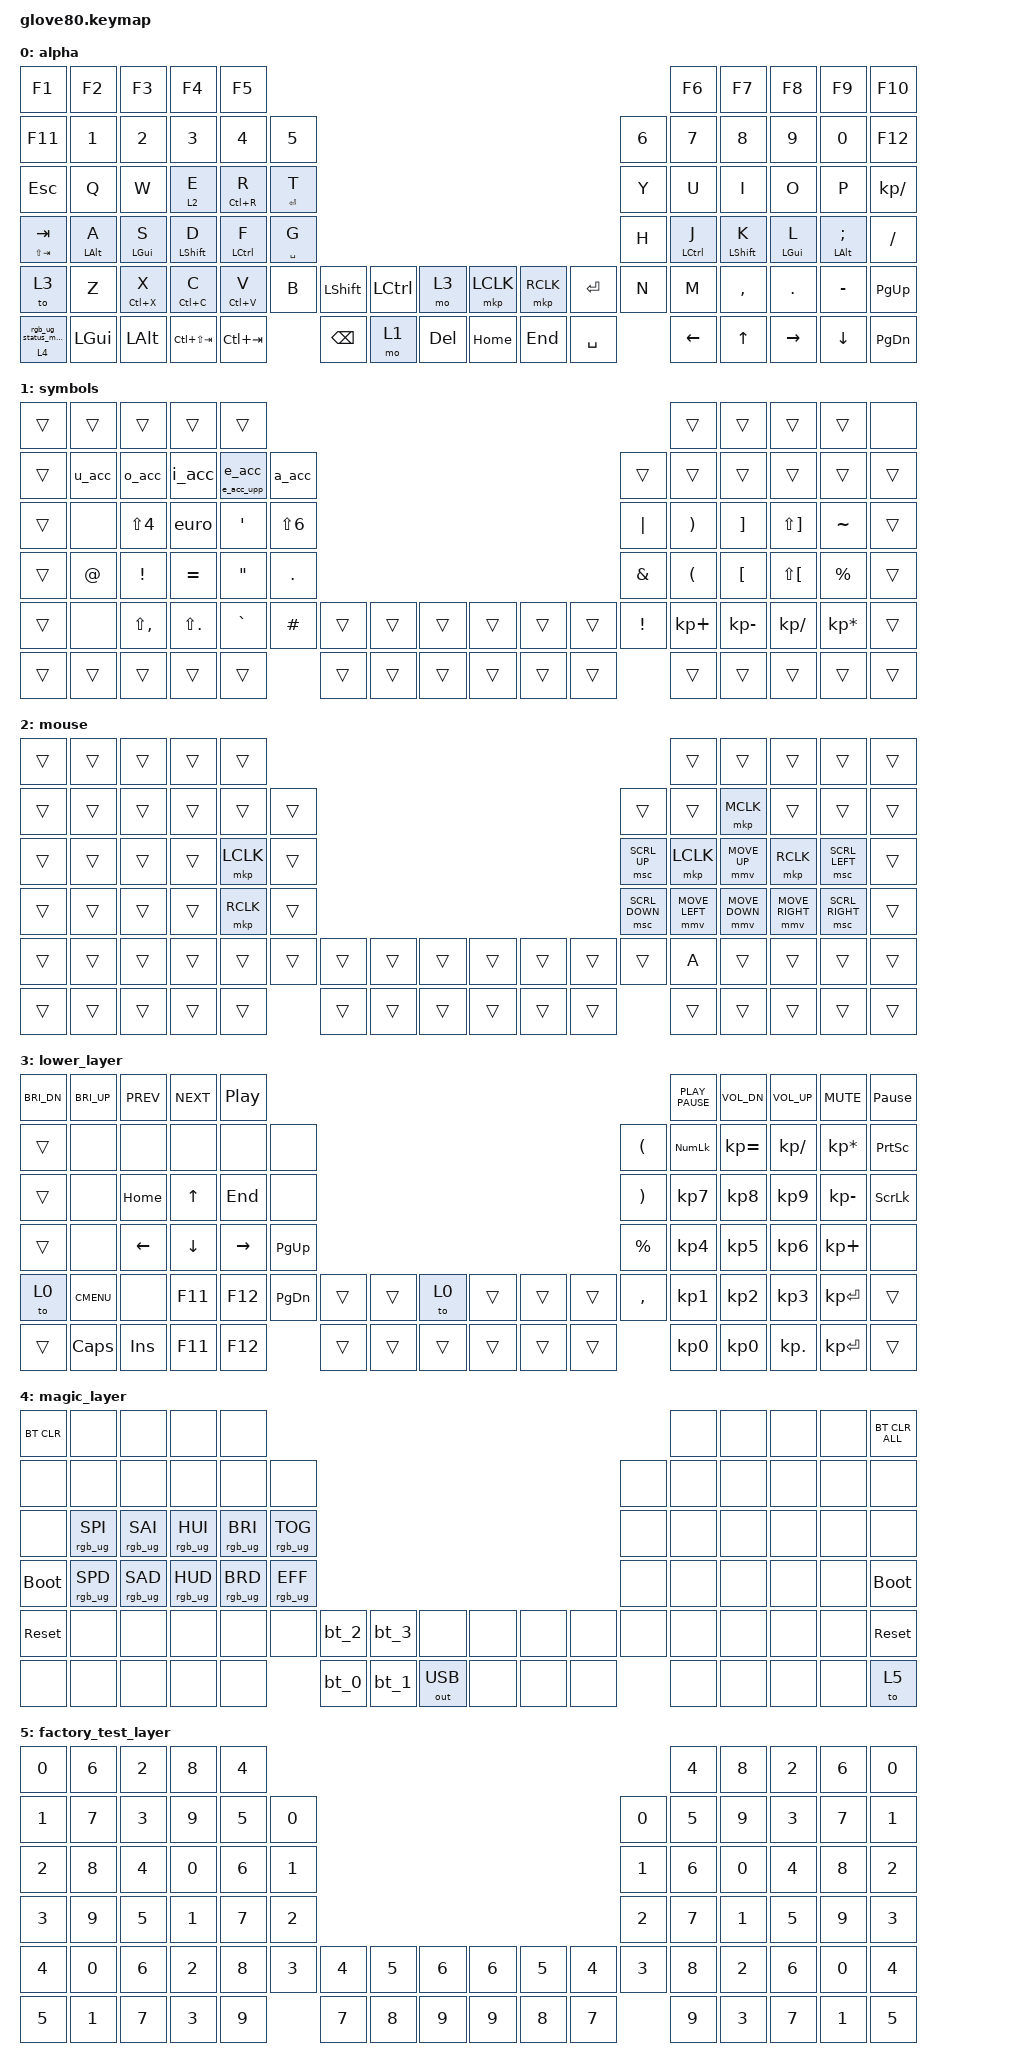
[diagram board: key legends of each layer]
/*
 * Copyright (c) 2020 The ZMK Contributors
 *
 * SPDX-License-Identifier: MIT
 */

#include <behaviors.dtsi>
#include <dt-bindings/zmk/bt.h>
#include <dt-bindings/zmk/keys.h>
#include <dt-bindings/zmk/outputs.h>
#include <dt-bindings/zmk/pointing.h>
#include <dt-bindings/zmk/rgb.h>

#define HYPER LC(LS(LG(LALT)))

// layers

#define DEFAULT 0
#define LOWER 1
#define MAGIC 2
#define FACTORY_TEST 3

/ {
    behaviors {
        // For the "layer" key, it'd nice to be able to use it as either a shift or a toggle.
        // Configure it as a tap dance, so the first tap (or hold) is a &mo and the second tap is a &to

        layer_td: tap_dance_0 {
            compatible = "zmk,behavior-tap-dance";
            label = "LAYER_TAP_DANCE";
            #binding-cells = <0>;
            tapping-term-ms = <200>;
            bindings = <&mo 3>, <&to 3>;
        };

        magic: magic_hold_tap {
            compatible = "zmk,behavior-hold-tap";
            label = "MAGIC_HOLD_TAP";
            #binding-cells = <2>;
            flavor = "tap-preferred";
            tapping-term-ms = <200>;
            bindings = <&mo>, <&rgb_ug_status_macro>;
        };

        hrm: hrm {
            compatible = "zmk,behavior-hold-tap";
            label = "HRM";
            bindings = <&kp>, <&kp>;

            #binding-cells = <2>;
            tapping-term-ms = <400>;
            flavor = "tap-preferred";
        };

        hrm_lw: hrm_lw {
            compatible = "zmk,behavior-hold-tap";
            label = "HRM long wait";
            bindings = <&kp>, <&kp>;

            #binding-cells = <2>;
            tapping-term-ms = <1000>;
            flavor = "tap-preferred";
        };

        lth: lth {
            compatible = "zmk,behavior-hold-tap";
            label = "Layer Tap Hold";
            bindings = <&mo>, <&kp>;

            #binding-cells = <2>;
            tapping-term-ms = <400>;
            flavor = "tap-preferred";
        };

        hrm_e_acc: hrmm {
            compatible = "zmk,behavior-hold-tap";
            label = "HRM e acc";
            bindings = <&e_acc_upp>, <&e_acc>;

            #binding-cells = <2>;
            tapping-term-ms = <400>;
            flavor = "tap-preferred";
        };
    };

    macros {
        rgb_ug_status_macro: rgb_ug_status_macro_0 {
            label = "RGB_UG_STATUS";
            compatible = "zmk,behavior-macro";
            #binding-cells = <0>;
            bindings = <&rgb_ug RGB_STATUS>;
        };

        bt_0: bt_profile_macro_0 {
            label = "BT_0";
            compatible = "zmk,behavior-macro";
            #binding-cells = <0>;
            bindings = <&out OUT_BLE &bt BT_SEL 0>;
        };

        bt_1: bt_profile_macro_1 {
            label = "BT_1";
            compatible = "zmk,behavior-macro";
            #binding-cells = <0>;
            bindings = <&out OUT_BLE &bt BT_SEL 1>;
        };

        bt_2: bt_profile_macro_2 {
            label = "BT_2";
            compatible = "zmk,behavior-macro";
            #binding-cells = <0>;
            bindings = <&out OUT_BLE &bt BT_SEL 2>;
        };

        bt_3: bt_profile_macro_3 {
            label = "BT_3";
            compatible = "zmk,behavior-macro";
            #binding-cells = <0>;
            bindings = <&out OUT_BLE &bt BT_SEL 3>;
        };

        euro: euro {
            compatible = "zmk,behavior-macro";
            #binding-cells = <0>;
            bindings = <&kt RIGHT_ALT &kp KP_NUMBER_0 &kp KP_NUMBER_1 &kp KP_NUMBER_2 &kp KP_NUMBER_8 &kt RIGHT_ALT>;
            label = "EURO";
        };

        e_acc_upp: e_acc_upp {
            compatible = "zmk,behavior-macro";
            #binding-cells = <0>;
            bindings = <&kt RIGHT_ALT &kp KP_NUMBER_0 &kp KP_NUMBER_2 &kp KP_NUMBER_0 &kp KP_NUMBER_0 &kt RIGHT_ALT>;
            label = "E_ACC_UPP";
        };

        a_acc: a_acc {
            compatible = "zmk,behavior-macro";
            #binding-cells = <0>;
            bindings = <&kt RIGHT_ALT &kp KP_NUMBER_0 &kp KP_NUMBER_2 &kp KP_NUMBER_2 &kp KP_NUMBER_4 &kt RIGHT_ALT>;
            label = "A_ACC";
        };

        e_acc: e_acc {
            compatible = "zmk,behavior-macro";
            #binding-cells = <0>;
            bindings = <&kt RIGHT_ALT &kp KP_NUMBER_0 &kp KP_NUMBER_2 &kp KP_NUMBER_3 &kp KP_NUMBER_2 &kt RIGHT_ALT>;
            label = "E_ACC";
        };

        i_acc: i_acc {
            compatible = "zmk,behavior-macro";
            #binding-cells = <0>;
            bindings = <&kt RIGHT_ALT &kp KP_NUMBER_0 &kp KP_NUMBER_2 &kp KP_NUMBER_3 &kp KP_NUMBER_6 &kt RIGHT_ALT>;
            label = "I_ACC";
        };

        o_acc: o_acc {
            compatible = "zmk,behavior-macro";
            #binding-cells = <0>;
            bindings = <&kt RIGHT_ALT &kp KP_NUMBER_0 &kp KP_NUMBER_2 &kp KP_NUMBER_4 &kp KP_NUMBER_2 &kt RIGHT_ALT>;
            label = "O_ACC";
        };

        u_acc: u_acc {
            compatible = "zmk,behavior-macro";
            #binding-cells = <0>;
            bindings = <&kt RIGHT_ALT &kp KP_NUMBER_0 &kp KP_NUMBER_2 &kp KP_NUMBER_4 &kp KP_NUMBER_9 &kt RIGHT_ALT>;
            label = "U_ACC";
        };
    };

    keymap {
        compatible = "zmk,keymap";

        alpha {
            // ---------------------------------------------------------------------------------------------------------------------------------
            // |  F1   |  F2 |  F3 |  F4  |  F5  |                                                               |  F6   |  F7   |  F8  |   F9  |  F10 |
            // |  =    |  1  |  2  |  3   |  4   |  5   |                                                 |  6   |   7   |   8   |  9   |   0   |   -  |
            // |  TAB  |  Q  |  W  |  E   |  R   |  T   |                                                 |  Y   |   U   |   I   |  O   |   P   |   \  |
            // |  ESC  |  A  |  S  |  D   |  F   |  G   |                                                 |  H   |   J   |   K   |  L   |   ;   |   '  |
            // |   `   |  Z  |  X  |  C   |  V   |  B   | LSHFT | LCTRL | LOWER | | LGUI  | RCTRL | RSHFT |  N   |   M   |   ,   |  .   |   /   | PGUP |
            // | MAGIC | HOME| END | LEFT | RIGHT|      | BSPC  | DEL   | LALT  | | RALT  | RET   | SPACE |      |  UP   | DOWN  |  [   |   ]   | PGDN |

            bindings = <
&kp F1            &kp F2           &kp F3           &kp F4             &kp F5                                                                                                    &kp F6          &kp F7         &kp F8           &kp F9          &kp F10
&kp F11           &kp N1           &kp N2           &kp N3             &kp N4           &kp N5                                                                           &kp N6  &kp N7          &kp N8         &kp N9           &kp N0          &kp F12
&kp ESCAPE        &kp Q            &kp W            &lth 2 E           &hrm_lw LC(R) R  &hrm ENTER T                                                                     &kp Y   &kp U           &kp I          &kp O            &kp P           &kp KP_DIVIDE
&hrm LS(TAB) TAB  &hrm LEFT_ALT A  &hrm LEFT_GUI S  &hrm LEFT_SHIFT D  &hrm LCTRL F     &hrm SPACE G                                                                     &kp H   &hrm LCTRL J    &hrm LSHIFT K  &hrm LGUI L      &hrm LALT SEMI  &kp SLASH
&to 3             &kp Z            &hrm LC(X) X     &hrm LC(C) C       &hrm LC(V) V     &kp B         &kp LSHFT  &kp LCTRL  &mo 3       &mkp LCLK  &mkp RCLK  &kp ENTER  &kp N   &kp M           &kp COMMA      &kp DOT          &kp MINUS       &kp PG_UP
&magic 4 0        &kp LEFT_GUI     &kp LEFT_ALT     &kp LC(LS(TAB))    &kp LC(TAB)                    &kp BSPC   &mo 1      &kp DELETE  &kp HOME   &kp END    &kp SPACE          &kp LEFT_ARROW  &kp UP_ARROW   &kp RIGHT_ARROW  &kp DOWN_ARROW  &kp PG_DN
            >;
        };

        symbols {
            bindings = <
&trans  &trans  &trans            &trans       &trans                                                                                                &trans                 &trans             &trans                 &trans           &none
&trans  &u_acc  &o_acc            &i_acc       &hrm_e_acc 0 0     &a_acc                                                            &trans           &trans                 &trans             &trans                 &trans           &trans
&trans  &none   &kp LS(NUMBER_4)  &euro        &kp SINGLE_QUOTE   &kp LS(NUMBER_6)                                                  &kp PIPE         &kp RIGHT_PARENTHESIS  &kp RIGHT_BRACKET  &kp LS(RIGHT_BRACKET)  &kp TILDE        &trans
&trans  &kp AT  &kp EXCL          &kp EQUAL    &kp DOUBLE_QUOTES  &kp DOT                                                           &kp AMPERSAND    &kp LEFT_PARENTHESIS   &kp LEFT_BRACKET   &kp LS(LEFT_BRACKET)   &kp PERCENT      &trans
&trans  &none   &kp LS(COMMA)     &kp LS(DOT)  &kp GRAVE          &kp HASH          &trans  &trans  &trans  &trans  &trans  &trans  &kp EXCLAMATION  &kp KP_PLUS            &kp KP_MINUS       &kp KP_DIVIDE          &kp KP_MULTIPLY  &trans
&trans  &trans  &trans            &trans       &trans                               &trans  &trans  &trans  &trans  &trans  &trans                   &trans                 &trans             &trans                 &trans           &trans
            >;
        };

        mouse {
            bindings = <
&trans  &trans  &trans  &trans  &trans                                                                             &trans          &trans          &trans           &trans           &trans
&trans  &trans  &trans  &trans  &trans     &trans                                                  &trans          &trans          &mkp MCLK       &trans           &trans           &trans
&trans  &trans  &trans  &trans  &mkp LCLK  &trans                                                  &msc SCRL_UP    &mkp LCLK       &mmv MOVE_UP    &mkp RCLK        &msc SCRL_LEFT   &trans
&trans  &trans  &trans  &trans  &mkp RCLK  &trans                                                  &msc SCRL_DOWN  &mmv MOVE_LEFT  &mmv MOVE_DOWN  &mmv MOVE_RIGHT  &msc SCRL_RIGHT  &trans
&trans  &trans  &trans  &trans  &trans     &trans  &trans  &trans  &trans  &trans  &trans  &trans  &trans          &kp A           &trans          &trans           &trans           &trans
&trans  &trans  &trans  &trans  &trans             &trans  &trans  &trans  &trans  &trans  &trans                  &trans          &trans          &trans           &trans           &trans
            >;
        };

        lower_layer {
            bindings = <
&kp C_BRI_DN  &kp C_BRI_UP  &kp C_PREV  &kp C_NEXT  &kp C_PP                                                                         &kp K_PLAY_PAUSE  &kp C_VOL_DN  &kp C_VOL_UP   &kp K_MUTE       &kp PAUSE_BREAK
&trans        &none         &none       &none       &none      &none                                                      &kp LPAR   &kp KP_NUM        &kp KP_EQUAL  &kp KP_DIVIDE  &kp KP_MULTIPLY  &kp PSCRN
&trans        &none         &kp HOME    &kp UP      &kp END    &none                                                      &kp RPAR   &kp KP_N7         &kp KP_N8     &kp KP_N9      &kp KP_MINUS     &kp SLCK
&trans        &none         &kp LEFT    &kp DOWN    &kp RIGHT  &kp PG_UP                                                  &kp PRCNT  &kp KP_N4         &kp KP_N5     &kp KP_N6      &kp KP_PLUS      &none
&to 0         &kp K_CMENU   &none       &kp F11     &kp F12    &kp PG_DN  &trans  &trans  &to 0   &trans  &trans  &trans  &kp COMMA  &kp KP_N1         &kp KP_N2     &kp KP_N3      &kp KP_ENTER     &trans
&trans        &kp CAPS      &kp INS     &kp F11     &kp F12               &trans  &trans  &trans  &trans  &trans  &trans             &kp KP_N0         &kp KP_N0     &kp KP_DOT     &kp KP_ENTER     &trans
            >;
        };

        magic_layer {
            bindings = <
&bt BT_CLR   &none            &none            &none            &none                                                                                     &none  &none  &none  &none  &bt BT_CLR_ALL
&none        &none            &none            &none            &none            &none                                                             &none  &none  &none  &none  &none  &none
&none        &rgb_ug RGB_SPI  &rgb_ug RGB_SAI  &rgb_ug RGB_HUI  &rgb_ug RGB_BRI  &rgb_ug RGB_TOG                                                   &none  &none  &none  &none  &none  &none
&bootloader  &rgb_ug RGB_SPD  &rgb_ug RGB_SAD  &rgb_ug RGB_HUD  &rgb_ug RGB_BRD  &rgb_ug RGB_EFF                                                   &none  &none  &none  &none  &none  &bootloader
&sys_reset   &none            &none            &none            &none            &none            &bt_2  &bt_3  &none         &none  &none  &none  &none  &none  &none  &none  &none  &sys_reset
&none        &none            &none            &none            &none                             &bt_0  &bt_1  &out OUT_USB  &none  &none  &none         &none  &none  &none  &none  &to 5
            >;
        };

        factory_test_layer {
            bindings = <
&kp N0  &kp N6  &kp N2  &kp N8  &kp N4                                                                  &kp N4  &kp N8  &kp N2  &kp N6  &kp N0
&kp N1  &kp N7  &kp N3  &kp N9  &kp N5  &kp N0                                                  &kp N0  &kp N5  &kp N9  &kp N3  &kp N7  &kp N1
&kp N2  &kp N8  &kp N4  &kp N0  &kp N6  &kp N1                                                  &kp N1  &kp N6  &kp N0  &kp N4  &kp N8  &kp N2
&kp N3  &kp N9  &kp N5  &kp N1  &kp N7  &kp N2                                                  &kp N2  &kp N7  &kp N1  &kp N5  &kp N9  &kp N3
&kp N4  &kp N0  &kp N6  &kp N2  &kp N8  &kp N3  &kp N4  &kp N5  &kp N6  &kp N6  &kp N5  &kp N4  &kp N3  &kp N8  &kp N2  &kp N6  &kp N0  &kp N4
&kp N5  &kp N1  &kp N7  &kp N3  &kp N9          &kp N7  &kp N8  &kp N9  &kp N9  &kp N8  &kp N7          &kp N9  &kp N3  &kp N7  &kp N1  &kp N5
            >;
        };
    };
};
